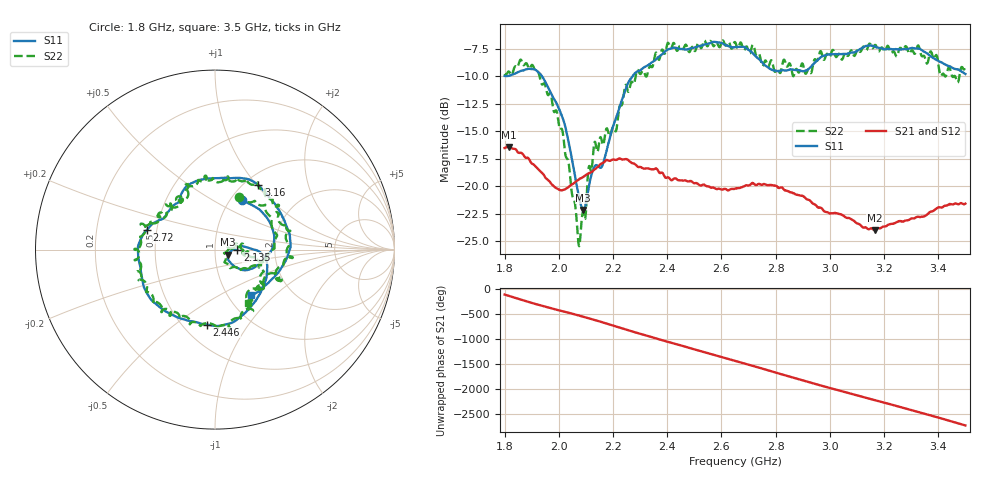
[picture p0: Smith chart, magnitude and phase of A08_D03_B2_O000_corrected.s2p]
! Created with skrf 1.9.0 (http://scikit-rf.org).
# Hz S RI R 50.0
!freq ReS11 ImS11 ReS21 ImS21 ReS12 ImS12 ReS22 ImS22
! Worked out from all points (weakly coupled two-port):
!   1601 points, 1.8 GHz to 3.5 GHz, reference 50 ohm
!   highest |S21| = -16.42 dB at 1.817 GHz (marker M1); lowest = -24.0 dB at 3.165 GHz (marker M2)
!   lowest |S11| = -22.1 dB at 2.09 GHz (marker M3), VSWR 1.17, Z = 57.8 - j3.28 ohm
!   |S11| at or under -10 dB: 1.807125 GHz to 1.807546 GHz (420.7 kHz wide, 0.0233 % of centre); 1.938 GHz to 2.272 GHz (334.7 MHz wide, 15.9 % of centre)
!   |S22| runs from -25.4 to -6.8 dB; largest |S21 - S12| = 0.0026
!   S11 on the Smith chart (normalised r, x): 1.8 GHz: 1.12, +0.70; 2.135 GHz: 1.28, -0.00; 2.446 GHz: 0.65, -0.66; 2.72 GHz: 0.44, +0.11; 3.16 GHz: 1.15, +1.02; 3.5 GHz: 1.27, -0.72
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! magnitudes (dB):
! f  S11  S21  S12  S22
! 1.8 GHz  -10.0  -16.5  -16.5  -9.8
! 1.817 GHz  -10.0  -16.4  -16.4  -9.6
! 1.903 GHz  -9.4  -18.0  -18.0  -9.0
! 1.968 GHz  -11.4  -19.6  -19.7  -11.5
! 2.015 GHz  -13.8  -20.3  -20.4  -15.1
! 2.072 GHz  -20.7  -19.4  -19.4  -25.1
! 2.084 GHz  -21.8  -19.3  -19.2  -23.1
! 2.09 GHz  -22.1  -19.1  -19.2  -22.3
! 2.135 GHz  -18.1  -18.4  -18.4  -16.0
! 2.162 GHz  -18.0  -17.9  -17.8  -16.2
! 2.209 GHz  -14.0  -17.6  -17.6  -15.0
! 2.26 GHz  -10.4  -17.7  -17.7  -11.2
! 2.367 GHz  -8.3  -18.6  -18.6  -8.5
! 2.446 GHz  -7.5  -19.5  -19.5  -7.3
! 2.65 GHz  -7.4  -20.2  -20.2  -6.9
! 2.72 GHz  -8.1  -19.8  -19.7  -7.4
! 2.803 GHz  -9.5  -20.0  -20.0  -9.5
! 2.934 GHz  -9.1  -21.5  -21.5  -9.5
! 3.16 GHz  -7.3  -23.9  -23.9  -7.4
! 3.165 GHz  -7.3  -24.0  -23.9  -7.2
! 3.217 GHz  -7.5  -23.5  -23.4  -7.4
! 3.5 GHz  -9.8  -21.6  -21.6  -9.1
